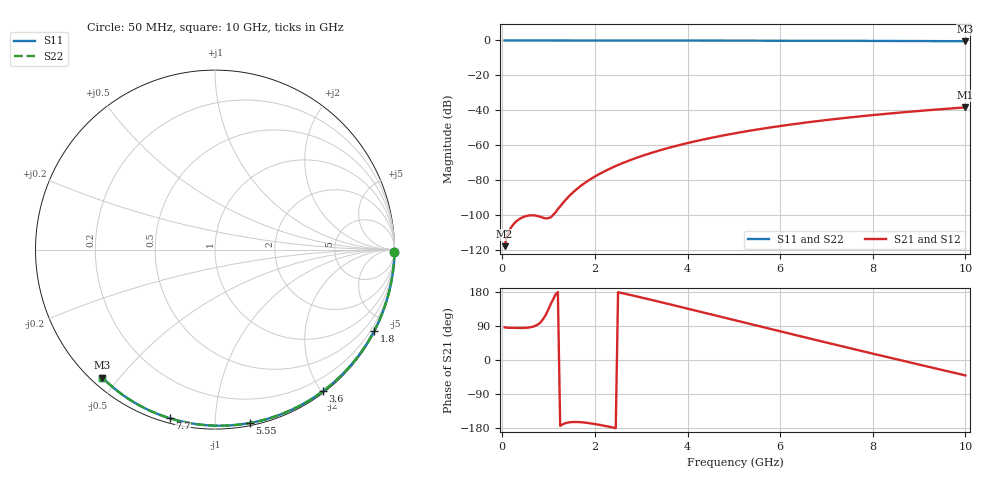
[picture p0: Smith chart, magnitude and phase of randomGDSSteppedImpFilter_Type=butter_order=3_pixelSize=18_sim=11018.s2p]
! freq	dB(S11)	phase(S11)	dB(S12)	phase(S12)
!  dB(S21)	phase(S21)	dB(S22)	phase(S22)
!S-par simulation data
#  GHz  S  DB  R 50
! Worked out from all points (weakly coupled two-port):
!   200 points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, 50 MHz to 10 GHz, reference 50 ohm
!   highest |S21| = -38.40 dB at 10 GHz (marker M1); lowest = -118.0 dB at 50 MHz (marker M2)
!   lowest |S11| = -0.4 dB at 10 GHz (marker M3), VSWR 39.07, Z = 1.54 - j22.6 ohm
!   |S11| at or under -10 dB: nowhere
!   |S22| runs from -0.4 to 0.0 dB; largest |S21 - S12| = 0
!   S11 on the Smith chart (normalised r, x): 50 MHz: open; 1.8 GHz: 0.04, -4.18; 3.6 GHz: 0.02, -2.02; 5.55 GHz: 0.02, -1.22; 7.7 GHz: 0.02, -0.77; 10 GHz: 0.03, -0.45
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0.05  -0.00 -0.8  -118.00 86.2  -118.00 86.2  -0.00 -0.8
0.9  -0.02 -13.6  -101.84 111.6  -101.84 111.6  -0.02 -13.6
1.75  -0.03 -26.2  -82.34 -164.8  -82.34 -164.8  -0.03 -26.2
1.8  -0.03 -26.9  -81.40 -165.4  -81.40 -165.4  -0.03 -26.9
1.85  -0.04 -27.7  -80.51 -166.2  -80.51 -166.2  -0.04 -27.7
1.9  -0.04 -28.4  -79.66 -167.1  -79.66 -167.1  -0.04 -28.4
2.05  -0.04 -30.6  -77.28 -170.1  -77.28 -170.1  -0.04 -30.6
2.25  -0.04 -33.5  -74.48 -174.7  -74.48 -174.7  -0.04 -33.5
2.45  -0.05 -36.4  -72.01 -179.8  -72.01 -179.8  -0.05 -36.4
2.65  -0.05 -39.3  -69.79 174.8  -69.79 174.8  -0.05 -39.3
3  -0.06 -44.2  -66.38 165.0  -66.38 165.0  -0.06 -44.2
3.4  -0.07 -49.9  -63.04 153.4  -63.04 153.4  -0.07 -49.9
3.6  -0.07 -52.6  -61.55 147.5  -61.55 147.5  -0.07 -52.6
4.3  -0.09 -62.2  -57.04 126.6  -57.04 126.6  -0.09 -62.2
5.05  -0.11 -72.2  -53.11 104.1  -53.11 104.1  -0.11 -72.2
5.55  -0.13 -78.6  -50.88 89.1  -50.88 89.1  -0.13 -78.6
6.1  -0.15 -85.6  -48.70 72.7  -48.70 72.7  -0.15 -85.6
6.7  -0.18 -93.0  -46.60 54.9  -46.60 54.9  -0.18 -93.0
7.7  -0.24 -105.0  -43.60 25.5  -43.60 25.5  -0.24 -105.0
8.35  -0.29 -112.6  -41.93 6.6  -41.93 6.6  -0.29 -112.6
9.15  -0.36 -121.8  -40.10 -16.4  -40.10 -16.4  -0.36 -121.8
10  -0.44 -131.4  -38.40 -40.7  -38.40 -40.7  -0.44 -131.4
